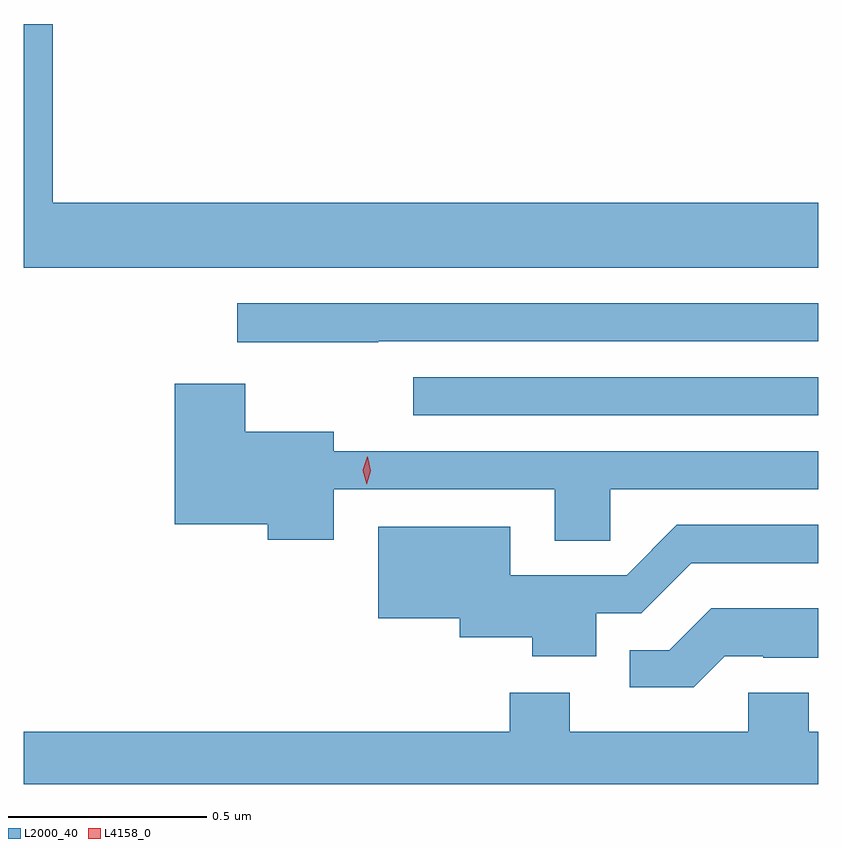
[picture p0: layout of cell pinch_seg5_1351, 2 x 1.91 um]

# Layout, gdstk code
import gdstk
lib = gdstk.Library(unit=1e-6, precision=1e-09)
def R(c, l, rs):  # rectangles x0, y0, x1, y1
    for r in rs: c.add(gdstk.rectangle(r[:2], r[2:], *l))
def P(c, l, *ps):  # polygons
    for p in ps: c.add(gdstk.Polygon(p, *l))
L2000_40 = (2000, 40)
L4158_0 = (4158, 0)

pinch_seg5_1351 = lib.new_cell('pinch_seg5_1351')
R(pinch_seg5_1351, L2000_40, [(506.481,839.073,507.5,839.169)])
P(pinch_seg5_1351, L2000_40, [(507.5,839.608),(505.573,839.608),(505.573,840.058),(505.5,840.058),(505.5,839.444),(507.5,839.444)],
  [(506.393,839.259),(507.5,839.259),(507.5,839.355),(506.037,839.355),(506.037,839.257),(506.393,839.257)],
  [(506.976,838.887),(507.5,838.887),(507.5,838.983),(506.281,838.983),(506.281,839.032),(506.058,839.032),(506.058,839.152),(505.88,839.152),(505.88,838.799),(506.114,838.799),(506.114,838.76),(506.281,838.76),(506.281,838.887),(506.837,838.887),(506.837,838.757),(506.976,838.757)],
  [(506.941,838.575),(507.054,838.575),(507.18,838.701),(507.5,838.701),(507.5,838.797),(507.144,838.797),(507.018,838.671),(506.725,838.671),(506.725,838.792),(506.393,838.792),(506.393,838.562),(506.597,838.562),(506.597,838.514),(506.78,838.514),(506.78,838.466),(506.941,838.466)],
  [(507.265,838.467),(507.361,838.467),(507.361,838.463),(507.5,838.463),(507.5,838.588),(507.331,838.588),(507.331,838.587),(507.23,838.587),(507.125,838.482),(507.026,838.482),(507.026,838.388),(507.186,838.388)],
  [(507.5,838.276),(507.476,838.276),(507.476,838.375),(507.324,838.375),(507.324,838.276),(506.875,838.276),(506.875,838.375),(506.723,838.375),(506.723,838.276),(505.5,838.276),(505.5,838.145),(507.5,838.145)])
P(pinch_seg5_1351, L4158_0, [(506.363,838.9),(506.363,838.9),(506.354,838.935),(506.365,838.969),(506.366,838.969),(506.366,838.969),(506.374,838.934),(506.363,838.9)])

lib.write_gds('pinch_seg5_1351.gds')
